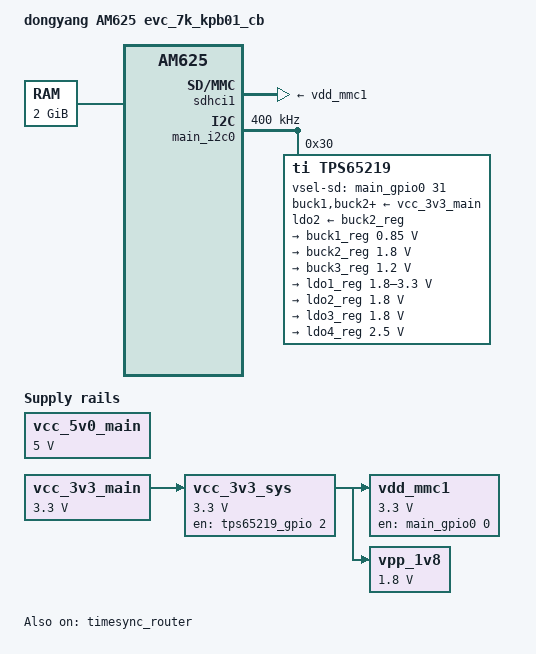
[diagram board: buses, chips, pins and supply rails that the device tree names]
// SPDX-License-Identifier: GPL-2.0
/*
 * AM625 Minimal
 *
 * DT supports loading U-Boot binaries via UART and kernel image,
 * initramfs, and kernel devicetree through SD.
 *
 * Copyright (C) 2021-2024 Texas Instruments Incorporated - https://www.ti.com/
 */
/dts-v1/;

#include "k3-am62x-evc_7k_kpb01_cb-common.dtsi"

#include "k3-timesync-router.h"

/ {
	compatible = "dongyang,am625-evc_7k_kpb01_cb", "dongyang,am625";
	model = "dongyang AM625 evc_7k_kpb01_cb";

    opp-table {
		/* Add 1.4GHz OPP for am625-sk board. Requires VDD_CORE to be at 0.85V */
		opp-1400000000 {
			opp-hz = /bits/ 64 <1400000000>;
			opp-supported-hw = <0x01 0x0004>;
			clock-latency-ns = <6000000>;
		};
	};

	memory@80000000 {
		device_type = "memory";
		/* 2G RAM */
		reg = <0x00000000 0x80000000 0x00000000 0x80000000>;

	};

	vcc_5v0_main: regulator-0 {
		/* Output of TPS56208*/
		bootph-all;
		compatible = "regulator-fixed";
		regulator-name = "vcc_5v0_main";
		regulator-min-microvolt = <5000000>;
		regulator-max-microvolt = <5000000>;
		regulator-always-on;
		regulator-boot-on;
	};

	vcc_3v3_main: regulator-1 {
		/* Output of TPS56208 */
		bootph-all;
		compatible = "regulator-fixed";
		regulator-name = "vcc_3v3_main";
		regulator-min-microvolt = <3300000>;
		regulator-max-microvolt = <3300000>;
		regulator-always-on;
		regulator-boot-on;
	};

	vcc_3v3_sys: regulator-2 {
		/* output of TPS22965 */
		bootph-all;
		compatible = "regulator-fixed";
		regulator-name = "vcc_3v3_sys";
		regulator-min-microvolt = <3300000>;
		regulator-max-microvolt = <3300000>;
		vin-supply = <&vcc_3v3_main>;
		enable-active-high;
		gpio = <&tps65219_gpio 2 GPIO_ACTIVE_HIGH>;
		regulator-boot-on;
	};

	vdd_mmc1: regulator-3 {
		/* TPS22918DBVR */
		bootph-all;
		compatible = "regulator-fixed";
		regulator-name = "vdd_mmc1";
		regulator-min-microvolt = <3300000>;
		regulator-max-microvolt = <3300000>;
		regulator-boot-on;
		enable-active-high;
		vin-supply = <&vcc_3v3_sys>;
		gpio = <&main_gpio0 0 GPIO_ACTIVE_HIGH>;

	};


	vpp_1v8: regulator-4 {
		/* output of TPS6282518DMQ - SOC J8 VPP pin */
		compatible = "regulator-fixed";
		regulator-name = "vpp_1v8";
		regulator-min-microvolt = <1800000>;
		regulator-max-microvolt = <1800000>;
		vin-supply = <&vcc_3v3_sys>;
		regulator-always-on;
		regulator-boot-on;
		/* gpio = <VPP_LDO_EN > VPP_LDO_EN pin is not connected */
	};
};

&main_pmx0 {


	vdd_sd_dv_pins_default: vdd-sd-dv-default-pins {
		bootph-all;
		pinctrl-single,pins = <
			AM62X_IOPAD(0x07c, PIN_OUTPUT, 7) /* (P25) GPMC0_CLK.GPIO0_31 */
		>;
	};
	mygpio0_pins_default: mygpio0-default-pins {
		pinctrl-single,pins = <
			AM62X_IOPAD(0x0000, PIN_OUTPUT, 7) /* (H24) OSPI0_CLK.GPIO0_0 - MMC1 Power */
			AM62X_IOPAD(0x0008, PIN_OUTPUT, 7) /* (J24) OSPI0_DQS.GPIO0_2 */
			AM62X_IOPAD(0x000c, PIN_OUTPUT, 7) /* (E25) OSPI0_D0.GPIO0_3 */
			AM62X_IOPAD(0x008c, PIN_INPUT, 7) /* (L25) GPMC0_WEn.GPIO0_34 */
			AM62X_IOPAD(0x0094, PIN_INPUT, 7) /* (L25) GPMC0_BE1n.GPIO0_36 */
			AM62X_IOPAD(0x009c, PIN_INPUT, 7) /* (V25) GPMC0_WAIT1.GPIO0_38 */
			AM62X_IOPAD(0x00a4, PIN_INPUT, 7) /* (M22) GPMC0_DIR.GPIO0_40 */
			AM62X_IOPAD(0x00a8, PIN_INPUT, 7) /* (M21) GPMC0_CSn0.GPIO0_41 */
			AM62X_IOPAD(0x00ac, PIN_INPUT, 7) /* (L21) GPMC0_CSn1.GPIO0_42 */
		>;
	};
	mygpio1_pins_default: mygpio1-default-pins {
		pinctrl-single,pins = <
			AM62X_IOPAD(0x0198, PIN_OUTPUT, 7) /* (A19) MCASP0_AXR2.GPIO1_8 */
			AM62X_IOPAD(0x01a4, PIN_OUTPUT, 7) /* (B20) MCASP0_ACLKX.GPIO1_11 */
		>;
	};
	pmic_irq_pins_default: pmic-irq-default-pins {
		pinctrl-single,pins = <
			AM62X_IOPAD(0x01f4, PIN_OUTPUT, 7) /* (D16) EXTINTn.GPIO1_31 */
		>;
	};

	vdd_sd_dv_pins_default: vdd-sd-dv-default-pins {
		bootph-all;
		pinctrl-single,pins = <
			AM62X_IOPAD(0x07c, PIN_OUTPUT, 7) /* (P25) GPMC0_CLK.GPIO0_31 */
		>;
	};

	main_i2c0_pins_default: main-i2c0-default-pins {
		pinctrl-single,pins = <
			AM62X_IOPAD(0x1e0, PIN_INPUT_PULLUP, 0) /* (B16/E12) I2C0_SCL */
			AM62X_IOPAD(0x1e4, PIN_INPUT_PULLUP, 0) /* (A16/D14) I2C0_SDA */
		>;
	};


};

&main_gpio0 {
	bootph-all;
	pinctrl-names = "default";
	pinctrl-0 = <&mygpio0_pins_default>;
};

&main_gpio1 {
	bootph-all;
    pinctrl-names = "default";
	pinctrl-0 = <&mygpio1_pins_default>;
};

&sdhci1 {
	vmmc-supply = <&vdd_mmc1>;
	vqmmc-supply = <&ldo1_reg>;
};

&cpsw3g {
	pinctrl-names = "default";
	pinctrl-0 = <&main_rgmii1_pins_default>;

	cpts@3d000 {
		/* MAP HW3_TS_PUSH to GENF1 */
		ti,pps = <2 1>;
	};
};

&cpsw3g_mdio {
	/* Only phy0 is connected on this board */
};

&main_i2c0 {
	status = "okay";
	pinctrl-names = "default";
	pinctrl-0 = <&main_i2c0_pins_default>;
	clock-frequency = <400000>;

		tps65219: pmic@30 {
			bootph-all;
			compatible = "ti,tps65219";
			reg = <0x30>;
			buck1-supply = <&vcc_3v3_main>;
			buck2-supply = <&vcc_3v3_main>;
			buck3-supply = <&vcc_3v3_main>;
			ldo1-supply = <&vcc_3v3_main>;
			ldo2-supply = <&buck2_reg>;
			ldo3-supply = <&vcc_3v3_main>;
			ldo4-supply = <&vcc_3v3_main>;

			pinctrl-names = "default";
			pinctrl-0 = <&pmic_irq_pins_default &vdd_sd_dv_pins_default>;
			interrupt-parent = <&gic500>;
			interrupts = <GIC_SPI 224 IRQ_TYPE_LEVEL_HIGH>;
			interrupt-controller;
			#interrupt-cells = <1>;

			system-power-controller;
			ti,power-button;

			/* VSEL_SD pin control for LDO1 voltage selection */
			vsel-sd-gpios = <&main_gpio0 31 GPIO_ACTIVE_HIGH>;

			tps65219_gpio: gpio {
				compatible = "ti,tps65219-gpio";
				gpio-controller;
				#gpio-cells = <2>;
			};

		regulators {
			buck1_reg: buck1 {
				regulator-name = "VDD_CORE";
				regulator-min-microvolt = <850000>;
				regulator-max-microvolt = <850000>;
				regulator-boot-on;
				regulator-always-on;
			};

			buck2_reg: buck2 {
				regulator-name = "VDD_1V8";
				regulator-min-microvolt = <1800000>;
				regulator-max-microvolt = <1800000>;
				regulator-boot-on;
				regulator-always-on;
			};

			buck3_reg: buck3 {
				regulator-name = "VDD_1V2";
				regulator-min-microvolt = <1200000>;
				regulator-max-microvolt = <1200000>;
				regulator-boot-on;
				regulator-always-on;
			};

			ldo1_reg: ldo1 {
				/*
				 * VDDSHV_SDIO controlled via VSEL_SD pin (GPIO0_31)
				 * for 3.3V/1.8V switching
				 */
				regulator-name = "VDDSHV_SDIO";
				regulator-min-microvolt = <1800000>;
				regulator-max-microvolt = <3300000>;
				regulator-allow-bypass;
				regulator-boot-on;
				regulator-always-on;
			};

			ldo2_reg: ldo2 {
				regulator-name = "VDDR_CORE2";
				regulator-min-microvolt = <1800000>;
				regulator-max-microvolt = <1800000>;
				regulator-boot-on;
				regulator-always-on;
			};

			ldo3_reg: ldo3 {
				regulator-name = "VDDA_1V8";
				regulator-min-microvolt = <1800000>;
				regulator-max-microvolt = <1800000>;
				regulator-boot-on;
				regulator-always-on;
			};

			ldo4_reg: ldo4 {
				regulator-name = "VDD_2V5";
				regulator-min-microvolt = <2500000>;
				regulator-max-microvolt = <2500000>;
				regulator-boot-on;
				regulator-always-on;
			};
		};
	};
};

&fss {
	bootph-all;
};


&timesync_router {
	mux-reg-masks-state = <
		K3_TS_OFFSET(12, 0x0001ffff, 17)
		>;
	status = "okay";
};
